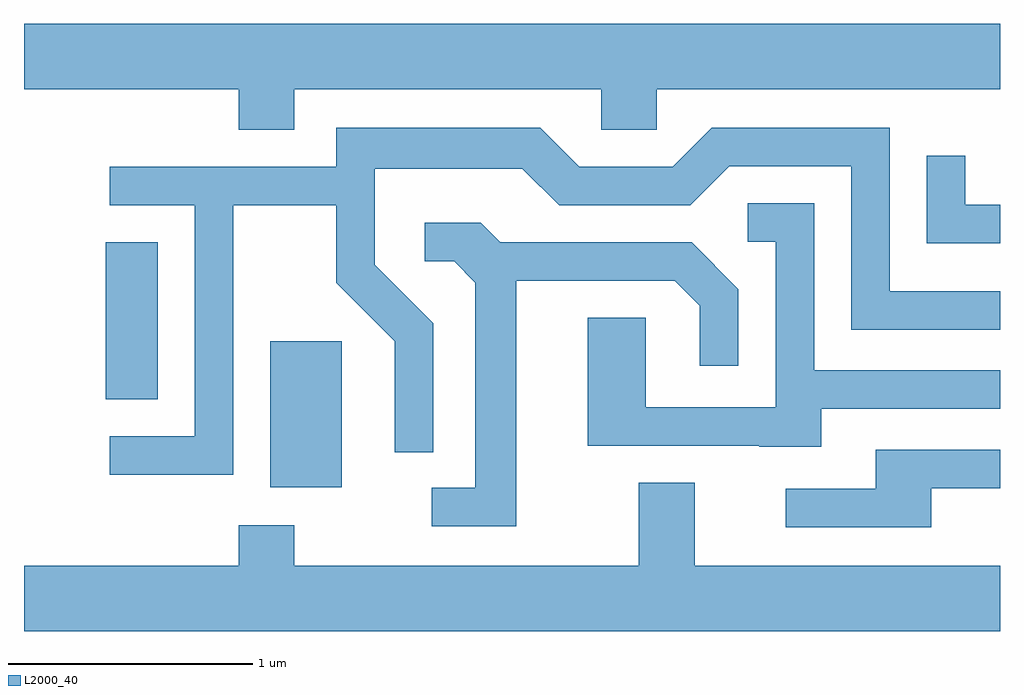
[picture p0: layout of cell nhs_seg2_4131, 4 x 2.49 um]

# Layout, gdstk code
import gdstk
lib = gdstk.Library(unit=1e-6, precision=1e-09)
def R(c, l, rs):  # rectangles x0, y0, x1, y1
    for r in rs: c.add(gdstk.rectangle(r[:2], r[2:], *l))
def P(c, l, *ps):  # polygons
    for p in ps: c.add(gdstk.Polygon(p, *l))
L2000_40 = (2000, 40)

nhs_seg2_4131 = lib.new_cell('nhs_seg2_4131')
R(nhs_seg2_4131, L2000_40, [(306.621,1108.846,306.914,1109.444), (305.946,1109.206,306.159,1109.849)])
P(nhs_seg2_4131, L2000_40, [(306.719,1110.476),(307.976,1110.476),(307.976,1110.311),(308.204,1110.311),(308.204,1110.476),(309.611,1110.476),(309.611,1110.744),(305.611,1110.744),(305.611,1110.476),(306.491,1110.476),(306.491,1110.311),(306.719,1110.311)],
  [(306.469,1110.001),(306.891,1110.001),(306.891,1109.684),(307.131,1109.444),(307.131,1108.988),(307.289,1108.988),(307.289,1109.517),(307.049,1109.757),(307.049,1110.151),(307.654,1110.151),(307.804,1110.001),(308.342,1110.001),(308.502,1110.161),(309.001,1110.161),(309.001,1109.491),(309.611,1109.491),(309.611,1109.649),(309.159,1109.649),(309.159,1110.319),(308.429,1110.319),(308.269,1110.159),(307.887,1110.159),(307.727,1110.319),(306.891,1110.319),(306.891,1110.159),(305.963,1110.159),(305.963,1110.001),(306.311,1110.001),(306.311,1109.054),(305.963,1109.054),(305.963,1108.896),(306.469,1108.896)],
  [(309.611,1110.004),(309.469,1110.004),(309.469,1110.203),(309.311,1110.203),(309.311,1109.846),(309.611,1109.846)],
  [(308.879,1109.166),(309.611,1109.166),(309.611,1109.324),(308.849,1109.324),(308.849,1110.009),(308.578,1110.009),(308.578,1109.851),(308.691,1109.851),(308.691,1109.174),(308.159,1109.174),(308.159,1109.539),(307.921,1109.539),(307.921,1109.016),(308.625,1109.016),(308.625,1109.011),(308.879,1109.011)],
  [(307.629,1109.691),(308.279,1109.691),(308.381,1109.589),(308.381,1109.343),(308.539,1109.343),(308.539,1109.657),(308.347,1109.849),(307.562,1109.849),(307.482,1109.929),(307.253,1109.929),(307.253,1109.771),(307.374,1109.771),(307.461,1109.684),(307.461,1108.844),(307.283,1108.844),(307.283,1108.686),(307.629,1108.686)],
  [(309.329,1108.841),(309.611,1108.841),(309.611,1108.999),(309.101,1108.999),(309.101,1108.839),(308.733,1108.839),(308.733,1108.681),(309.329,1108.681)],
  [(309.611,1108.524),(308.359,1108.524),(308.359,1108.864),(308.131,1108.864),(308.131,1108.524),(306.719,1108.524),(306.719,1108.689),(306.491,1108.689),(306.491,1108.524),(305.611,1108.524),(305.611,1108.256),(309.611,1108.256)])

lib.write_gds('nhs_seg2_4131.gds')
